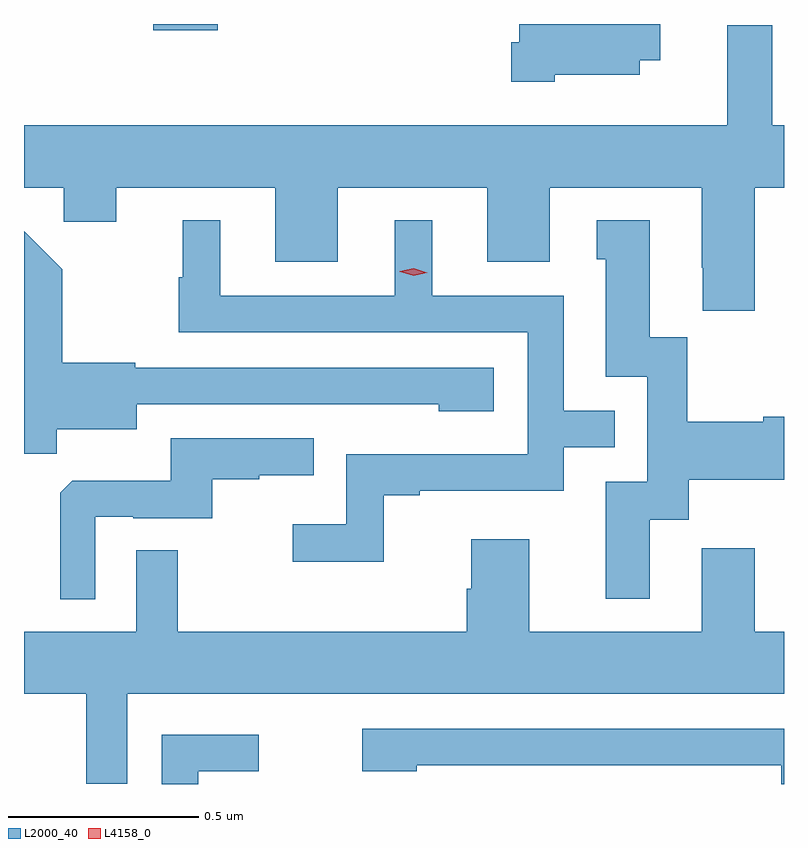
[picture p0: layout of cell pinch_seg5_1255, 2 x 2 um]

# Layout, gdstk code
import gdstk
lib = gdstk.Library(unit=1e-6, precision=1e-09)
def R(c, l, rs):  # rectangles x0, y0, x1, y1
    for r in rs: c.add(gdstk.rectangle(r[:2], r[2:], *l))
def P(c, l, *ps):  # polygons
    for p in ps: c.add(gdstk.Polygon(p, *l))
L2000_40 = (2000, 40)
L4158_0 = (4158, 0)

pinch_seg5_1255 = lib.new_cell('pinch_seg5_1255')
R(pinch_seg5_1255, L2000_40, [(459.482,901.131,459.652,901.147)])
P(pinch_seg5_1255, L2000_40, [(460.539,901.013),(460.762,901.013),(460.762,901.052),(460.816,901.052),(460.816,901.147),(460.445,901.147),(460.445,901.099),(460.424,901.099),(460.424,900.995),(460.539,900.995)],
  [(461.065,900.716),(461.142,900.716),(461.142,900.88),(461.111,900.88),(461.111,901.144),(460.993,901.144),(460.993,900.88),(459.142,900.88),(459.142,900.716),(459.247,900.716),(459.247,900.626),(459.385,900.626),(459.385,900.716),(459.803,900.716),(459.803,900.522),(459.967,900.522),(459.967,900.716),(460.361,900.716),(460.361,900.522),(460.525,900.522),(460.525,900.716),(460.925,900.716),(460.925,900.505),(460.928,900.505),(460.928,900.393),(461.065,900.393)],
  [(460.089,899.907),(460.183,899.907),(460.183,899.919),(460.563,899.919),(460.563,900.033),(460.697,900.033),(460.697,900.129),(460.563,900.129),(460.563,900.432),(460.216,900.432),(460.216,900.631),(460.118,900.631),(460.118,900.432),(459.658,900.432),(459.658,900.631),(459.56,900.631),(459.56,900.48),(459.549,900.48),(459.549,900.336),(460.467,900.336),(460.467,900.015),(459.99,900.015),(459.99,899.83),(459.849,899.83),(459.849,899.732),(460.089,899.732)],
  [(460.789,899.842),(460.891,899.842),(460.891,899.948),(461.142,899.948),(461.142,900.113),(461.087,900.113),(461.087,900.1),(460.887,900.1),(460.887,900.323),(460.789,900.323),(460.789,900.631),(460.649,900.631),(460.649,900.528),(460.673,900.528),(460.673,900.219),(460.782,900.219),(460.782,899.943),(460.673,899.943),(460.673,899.634),(460.789,899.634)],
  [(459.228,900.08),(459.439,900.08),(459.439,900.147),(459.997,900.147),(459.997,900.146),(460.233,900.146),(460.233,900.128),(460.378,900.128),(460.378,900.243),(459.435,900.243),(459.435,900.256),(459.243,900.256),(459.243,900.501),(459.143,900.601),(459.142,900.601),(459.142,900.016),(459.228,900.016)],
  [(459.33,899.85),(459.43,899.85),(459.43,899.847),(459.638,899.847),(459.638,899.949),(459.761,899.949),(459.761,899.96),(459.905,899.96),(459.905,900.057),(459.528,900.057),(459.528,899.945),(459.269,899.945),(459.237,899.913),(459.237,899.633),(459.33,899.633)],
  [(459.414,899.384),(461.142,899.384),(461.142,899.548),(461.065,899.548),(461.065,899.767),(460.925,899.767),(460.925,899.548),(460.471,899.548),(460.471,899.791),(460.319,899.791),(460.319,899.661),(460.307,899.661),(460.307,899.548),(459.547,899.548),(459.547,899.762),(459.438,899.762),(459.438,899.548),(459.142,899.548),(459.142,899.384),(459.306,899.384),(459.306,899.148),(459.414,899.148)],
  [(461.142,899.292),(460.032,899.292),(460.032,899.18),(460.176,899.18),(460.176,899.196),(461.135,899.196),(461.135,899.147),(461.142,899.147)],
  [(459.6,899.181),(459.76,899.181),(459.76,899.277),(459.504,899.277),(459.504,899.147),(459.6,899.147)])
P(pinch_seg5_1255, L4158_0, [(460.167,900.484),(460.131,900.495),(460.131,900.495),(460.131,900.496),(460.167,900.504),(460.203,900.493),(460.203,900.493),(460.203,900.493)])

lib.write_gds('pinch_seg5_1255.gds')
